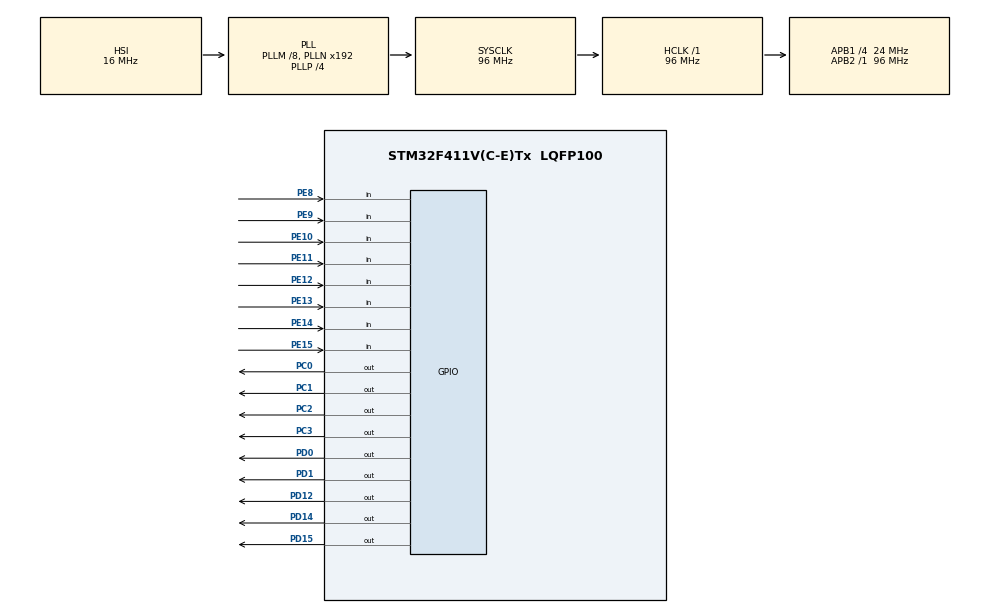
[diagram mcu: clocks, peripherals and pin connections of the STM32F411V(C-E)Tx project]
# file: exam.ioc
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Mcu.Family=STM32F4
Mcu.Name=STM32F411V(C-E)Tx
Mcu.Package=LQFP100
NVIC.PriorityGroup=NVIC_PRIORITYGROUP_0
PC0.Signal=GPIO_Output
PC1.Signal=GPIO_Output
PC14-OSC32_IN.Mode=LSE-External-Oscillator
PC14-OSC32_IN.Signal=RCC_OSC32_IN
PC15-OSC32_OUT.Mode=LSE-External-Oscillator
PC15-OSC32_OUT.Signal=RCC_OSC32_OUT
PC2.Signal=GPIO_Output
PC3.Signal=GPIO_Output
PD0.Signal=GPIO_Output
PD1.Signal=GPIO_Output
PD12.Signal=GPIO_Output
PD14.Signal=GPIO_Output
PD15.Signal=GPIO_Output
PE10.Signal=GPIO_Input
PE11.Signal=GPIO_Input
PE12.Signal=GPIO_Input
PE13.Signal=GPIO_Input
PE14.Signal=GPIO_Input
PE15.Signal=GPIO_Input
PE8.Signal=GPIO_Input
PE9.Signal=GPIO_Input
PH0\ -\ OSC_IN.Mode=HSE-External-Oscillator
PH0\ -\ OSC_IN.Signal=RCC_OSC_IN
PH1\ -\ OSC_OUT.Mode=HSE-External-Oscillator
PH1\ -\ OSC_OUT.Signal=RCC_OSC_OUT
ProjectManager.HeapSize=0x200
ProjectManager.StackSize=0x400
ProjectManager.TargetToolchain=SW4STM32
RCC.48MHZClocksFreq_Value=48000000
RCC.AHBFreq_Value=96000000
RCC.APB1CLKDivider=RCC_HCLK_DIV4
RCC.APB1Freq_Value=24000000
RCC.APB1TimFreq_Value=48000000
RCC.APB2Freq_Value=96000000
RCC.APB2TimFreq_Value=96000000
RCC.CortexFreq_Value=96000000
RCC.HCLKFreq_Value=96000000
RCC.HSE_VALUE=8000000
RCC.HSI_VALUE=16000000
RCC.PLLI2SM=5
RCC.PLLI2SN=200
RCC.PLLM=8
RCC.PLLP=RCC_PLLP_DIV4
RCC.PLLQ=8
RCC.SYSCLKFreq_VALUE=96000000
RCC.SYSCLKSource=RCC_SYSCLKSOURCE_PLLCLK
RCC.VCOOutputFreq_Value=384000000
board=32F411EDISCOVERY

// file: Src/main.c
/**
  ******************************************************************************
  * @file           : main.c
  * @brief          : Main program body
  ******************************************************************************
  ** This notice applies to any and all portions of this file
  * that are not between comment pairs USER CODE BEGIN and
  * USER CODE END. Other portions of this file, whether
  * inserted by the user or by software development tools
  * are owned by their respective copyright owners.
  *
  * COPYRIGHT(c) 2019 STMicroelectronics
  *
  * Redistribution and use in source and binary forms, with or without modification,
  * are permitted provided that the following conditions are met:
  *   1. Redistributions of source code must retain the above copyright notice,
  *      this list of conditions and the following disclaimer.
  *   2. Redistributions in binary form must reproduce the above copyright notice,
  *      this list of conditions and the following disclaimer in the documentation
  *      and/or other materials provided with the distribution.
  *   3. Neither the name of STMicroelectronics nor the names of its contributors
  *      may be used to endorse or promote products derived from this software
  *      without specific prior written permission.
  *
  * THIS SOFTWARE IS PROVIDED BY THE COPYRIGHT HOLDERS AND CONTRIBUTORS "AS IS"
  * AND ANY EXPRESS OR IMPLIED WARRANTIES, INCLUDING, BUT NOT LIMITED TO, THE
  * IMPLIED WARRANTIES OF MERCHANTABILITY AND FITNESS FOR A PARTICULAR PURPOSE ARE
  * DISCLAIMED. IN NO EVENT SHALL THE COPYRIGHT HOLDER OR CONTRIBUTORS BE LIABLE
  * FOR ANY DIRECT, INDIRECT, INCIDENTAL, SPECIAL, EXEMPLARY, OR CONSEQUENTIAL
  * DAMAGES (INCLUDING, BUT NOT LIMITED TO, PROCUREMENT OF SUBSTITUTE GOODS OR
  * SERVICES; LOSS OF USE, DATA, OR PROFITS; OR BUSINESS INTERRUPTION) HOWEVER
  * CAUSED AND ON ANY THEORY OF LIABILITY, WHETHER IN CONTRACT, STRICT LIABILITY,
  * OR TORT (INCLUDING NEGLIGENCE OR OTHERWISE) ARISING IN ANY WAY OUT OF THE USE
  * OF THIS SOFTWARE, EVEN IF ADVISED OF THE POSSIBILITY OF SUCH DAMAGE.
  *
  ******************************************************************************
  */
#include "main.h"
#include "stm32f4xx_hal.h"
#include "gpio.h"

/* USER CODE BEGIN PV */
int waiting_time = 100;
/* Private variables ---------------------------------------------------------*/

/* USER CODE END PV */

void SystemClock_Config(void);

/* USER CODE BEGIN PFP */
/* Private function prototypes -----------------------------------------------*/

/* USER CODE END PFP */

/* USER CODE BEGIN 0 */
void correct_led(int is_correct) {
	if (is_correct) {
		// Green
		HAL_GPIO_WritePin(GPIOD, GPIO_PIN_12, GPIO_PIN_SET);
	} else {
		// Red
		HAL_GPIO_WritePin(GPIOD, GPIO_PIN_14, GPIO_PIN_SET);
	}
	HAL_Delay(waiting_time);

	// shut down Green
	HAL_GPIO_WritePin(GPIOD, GPIO_PIN_12, GPIO_PIN_RESET);
	HAL_Delay(waiting_time);
}

int check_one_out(int q, uint16_t pin_number, uint16_t pin_number_not){
	if (q == 1){
		if ((HAL_GPIO_ReadPin(GPIOE, pin_number) == GPIO_PIN_SET)
				&& (HAL_GPIO_ReadPin(GPIOE, pin_number_not) == GPIO_PIN_RESET)){
			return 1;
		} else{
			return 0;
		}
	} else{
		if ((HAL_GPIO_ReadPin(GPIOE, pin_number) == GPIO_PIN_RESET)
						&& (HAL_GPIO_ReadPin(GPIOE, pin_number_not) == GPIO_PIN_SET)){
			return 1;
		} else{
			return 0;
		}
	}
}

void check_out(int q1, int q2, int q3, int q4) {
	int okay = 1;
	if (check_one_out(q1, GPIO_PIN_8, GPIO_PIN_9) == 0){
		okay = 0;
	}

	if (check_one_out(q2, GPIO_PIN_11, GPIO_PIN_10) == 0){
			okay = 0;
	}

	if (check_one_out(q3, GPIO_PIN_15, GPIO_PIN_14) == 0){
			okay = 0;
	}

	if (check_one_out(q4, GPIO_PIN_12, GPIO_PIN_13) == 0){
			okay = 0;
	}

	correct_led(okay);
}

void set_out(int value, GPIO_TypeDef* port, uint16_t pin_number){
	if (value){
		HAL_GPIO_WritePin(port, pin_number, GPIO_PIN_SET);
	} else{
		HAL_GPIO_WritePin(port, pin_number, GPIO_PIN_RESET);
	}
}

/* USER CODE END 0 */

int main(void)
{

  /* MCU Configuration----------------------------------------------------------*/

  /* Reset of all peripherals, Initializes the Flash interface and the Systick. */
  HAL_Init();

  /* USER CODE BEGIN Init */
	HAL_GPIO_WritePin(GPIOD, GPIO_PIN_12, GPIO_PIN_RESET);
	HAL_GPIO_WritePin(GPIOD, GPIO_PIN_14, GPIO_PIN_RESET);
	HAL_GPIO_WritePin(GPIOD, GPIO_PIN_15, GPIO_PIN_RESET);
  /* USER CODE END Init */

  /* Configure the system clock */
  SystemClock_Config();

  /* Initialize all configured peripherals */
  MX_GPIO_Init();

  /* Infinite loop */
  /* USER CODE BEGIN WHILE */
	while (1) {

		// -CLR = L; CLK = X; D = X
		set_out(0, GPIOD, GPIO_PIN_0);
		for(int clk = 0; clk <= 1; clk++){
			set_out(clk, GPIOD, GPIO_PIN_1);

			for (int d1 = 0; d1 <= 1; d1++){
				set_out(d1, GPIOC, GPIO_PIN_0);

				for (int d2 = 0; d2 <= 1; d2++){
					set_out(d2, GPIOC, GPIO_PIN_1);

					for (int d3 = 0; d3 <= 1; d3++){
						set_out(d3, GPIOC, GPIO_PIN_2);

						for (int d4 = 0; d4 <= 1; d4++){
							set_out(d4, GPIOC, GPIO_PIN_3);

							// q = L, -q = H
							check_out(0, 0, 0, 0);
						}
					}
				}
			}
		}

		// -CLR = H; CLK = X; D = X
		set_out(1, GPIOD, GPIO_PIN_0);
		// CLK = L
		set_out(0, GPIOD, GPIO_PIN_1);
		for (int d1 = 0; d1 <= 1; d1++){
			set_out(d1, GPIOC, GPIO_PIN_0);

			for (int d2 = 0; d2 <= 1; d2++){
				set_out(d2, GPIOC, GPIO_PIN_1);

				for (int d3 = 0; d3 <= 1; d3++){
					set_out(d3, GPIOC, GPIO_PIN_2);

					for (int d4 = 0; d4 <= 1; d4++){
						set_out(d4, GPIOC, GPIO_PIN_3);

						// CLK = L -> H
						set_out(1, GPIOD, GPIO_PIN_1);
						// q = d, -q = -d
						check_out(d1, d2, d3, d4);

						// CLK = L
						set_out(0, GPIOD, GPIO_PIN_1);
						// q = d, -q = -d
						check_out(d1, d2, d3, d4);

					}
				}
			}
		}

  /* USER CODE END WHILE */

  /* USER CODE BEGIN 3 */

		HAL_GPIO_WritePin(GPIOD, GPIO_PIN_15, GPIO_PIN_SET);

	}
  /* USER CODE END 3 */

}

void SystemClock_Config(void)
{

  RCC_OscInitTypeDef RCC_OscInitStruct;
  RCC_ClkInitTypeDef RCC_ClkInitStruct;

    /**Configure the main internal regulator output voltage
    */
  __HAL_RCC_PWR_CLK_ENABLE();

  __HAL_PWR_VOLTAGESCALING_CONFIG(PWR_REGULATOR_VOLTAGE_SCALE1);

    /**Initializes the CPU, AHB and APB busses clocks
    */
  RCC_OscInitStruct.OscillatorType = RCC_OSCILLATORTYPE_HSI;
  RCC_OscInitStruct.HSIState = RCC_HSI_ON;
  RCC_OscInitStruct.HSICalibrationValue = 16;
  RCC_OscInitStruct.PLL.PLLState = RCC_PLL_ON;
  RCC_OscInitStruct.PLL.PLLSource = RCC_PLLSOURCE_HSI;
  RCC_OscInitStruct.PLL.PLLM = 8;
  RCC_OscInitStruct.PLL.PLLN = 192;
  RCC_OscInitStruct.PLL.PLLP = RCC_PLLP_DIV4;
  RCC_OscInitStruct.PLL.PLLQ = 8;
  if (HAL_RCC_OscConfig(&RCC_OscInitStruct) != HAL_OK)
  {
    _Error_Handler(__FILE__, __LINE__);
  }

    /**Initializes the CPU, AHB and APB busses clocks
    */
  RCC_ClkInitStruct.ClockType = RCC_CLOCKTYPE_HCLK|RCC_CLOCKTYPE_SYSCLK
                              |RCC_CLOCKTYPE_PCLK1|RCC_CLOCKTYPE_PCLK2;
  RCC_ClkInitStruct.SYSCLKSource = RCC_SYSCLKSOURCE_PLLCLK;
  RCC_ClkInitStruct.AHBCLKDivider = RCC_SYSCLK_DIV1;
  RCC_ClkInitStruct.APB1CLKDivider = RCC_HCLK_DIV4;
  RCC_ClkInitStruct.APB2CLKDivider = RCC_HCLK_DIV1;

  if (HAL_RCC_ClockConfig(&RCC_ClkInitStruct, FLASH_LATENCY_3) != HAL_OK)
  {
    _Error_Handler(__FILE__, __LINE__);
  }

    /**Configure the Systick interrupt time
    */
  HAL_SYSTICK_Config(HAL_RCC_GetHCLKFreq()/1000);

    /**Configure the Systick
    */
  HAL_SYSTICK_CLKSourceConfig(SYSTICK_CLKSOURCE_HCLK);

  /* SysTick_IRQn interrupt configuration */
  HAL_NVIC_SetPriority(SysTick_IRQn, 0, 0);
}

void _Error_Handler(char *file, int line)
{
	while (1) {
	}
}

/************************ (C) COPYRIGHT STMicroelectronics *****END OF FILE****/
